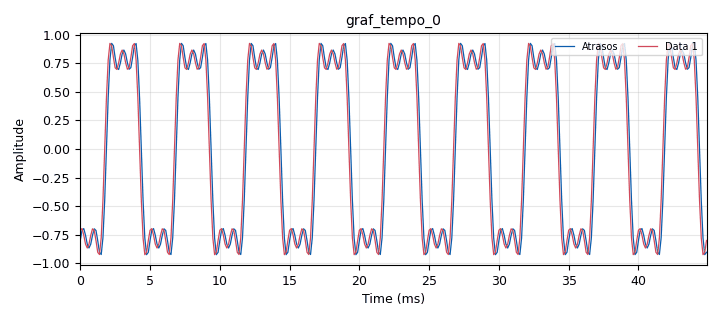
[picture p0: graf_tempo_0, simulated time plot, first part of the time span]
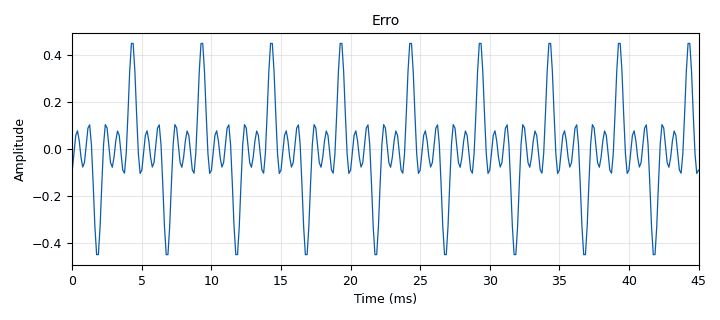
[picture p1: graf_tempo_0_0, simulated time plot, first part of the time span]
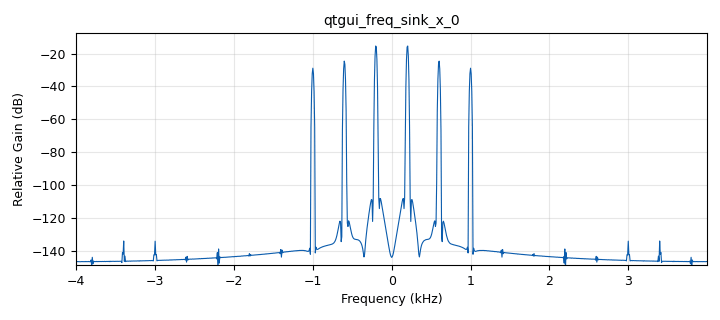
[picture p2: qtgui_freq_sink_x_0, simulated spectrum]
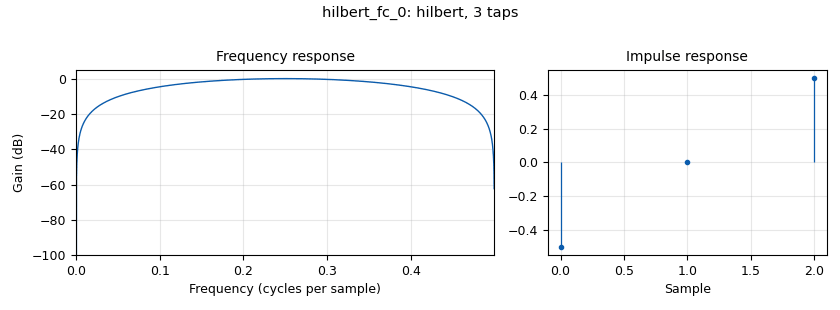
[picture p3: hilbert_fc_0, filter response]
<?xml version='1.0' encoding='utf-8'?>
<?grc format='1' created='3.7.13'?>
<flow_graph>
<block>
<key>options</key>
<param><key>id</key><value>Labo1_2</value></param>
<param><key>author</key><value>Leocarlos Bezerra da Silva Lima</value></param>
<param><key>category</key><value>Custom</value></param>
<param><key>description</key><value>Experimento para Laboratório de Princípios de Comunicações. Departamento de Engenharia Elétrica - DEE da Universidade Federal de Campina Grande - UFCG.</value></param>
<param><key>generate_options</key><value>qt_gui</value></param>
<param><key>title</key><value>Geracao de sinal a partir de sua serie de Fourier</value></param>
</block>
<block>
<key>variable</key>
<param><key>id</key><value>samp_rate</value></param>
<param><key>value</key><value>8000</value></param>
</block>
<block>
<key>blocks_complex_to_real</key>
<param><key>id</key><value>blocks_complex_to_real_0</value></param>
</block>
<block>
<key>blocks_complex_to_real</key>
<param><key>id</key><value>blocks_complex_to_real_0_0</value></param>
</block>
<block>
<key>blocks_complex_to_real</key>
<param><key>id</key><value>blocks_complex_to_real_0_1</value></param>
</block>
<block>
<key>blocks_sub_xx</key>
<param><key>id</key><value>blocks_sub_xx_0</value></param>
<param><key>type</key><value>float</value></param>
</block>
<block>
<key>blocks_throttle</key>
<param><key>id</key><value>blocks_throttle_0</value></param>
<param><key>samples_per_second</key><value>samp_rate</value></param>
<param><key>type</key><value>float</value></param>
</block>
<block>
<key>analog_sig_source_x</key>
<param><key>id</key><value>fundamental</value></param>
<param><key>amp</key><value>1.0</value></param>
<param><key>freq</key><value>200</value></param>
<param><key>offset</key><value>0</value></param>
<param><key>type</key><value>float</value></param>
<param><key>samp_rate</key><value>samp_rate</value></param>
<param><key>waveform</key><value>analog.GR_COS_WAVE</value></param>
</block>
<block>
<key>qtgui_time_sink_x</key>
<param><key>id</key><value>graf_tempo_0</value></param>
<param><key>autoscale</key><value>True</value></param>
<param><key>grid</key><value>True</value></param>
<param><key>color1</key><value>"blue"</value></param>
<param><key>label1</key><value>Atrasos</value></param>
<param><key>color2</key><value>"red"</value></param>
<param><key>label2</key><value></value></param>
<param><key>nconnections</key><value>2</value></param>
<param><key>size</key><value>1024</value></param>
<param><key>srate</key><value>samp_rate</value></param>
<param><key>type</key><value>float</value></param>
</block>
<block>
<key>qtgui_time_sink_x</key>
<param><key>id</key><value>graf_tempo_0_0</value></param>
<param><key>autoscale</key><value>True</value></param>
<param><key>grid</key><value>True</value></param>
<param><key>color1</key><value>"blue"</value></param>
<param><key>label1</key><value></value></param>
<param><key>name</key><value>"Erro"</value></param>
<param><key>size</key><value>1024</value></param>
<param><key>srate</key><value>samp_rate</value></param>
<param><key>type</key><value>float</value></param>
</block>
<block>
<key>analog_sig_source_x</key>
<param><key>id</key><value>harmonica_1</value></param>
<param><key>amp</key><value>-0.333</value></param>
<param><key>freq</key><value>600</value></param>
<param><key>offset</key><value>0</value></param>
<param><key>type</key><value>float</value></param>
<param><key>samp_rate</key><value>samp_rate</value></param>
<param><key>waveform</key><value>analog.GR_COS_WAVE</value></param>
</block>
<block>
<key>analog_sig_source_x</key>
<param><key>id</key><value>harmonica_2</value></param>
<param><key>amp</key><value>0.2</value></param>
<param><key>freq</key><value>1000</value></param>
<param><key>offset</key><value>0</value></param>
<param><key>type</key><value>float</value></param>
<param><key>samp_rate</key><value>samp_rate</value></param>
<param><key>waveform</key><value>analog.GR_COS_WAVE</value></param>
</block>
<block>
<key>hilbert_fc</key>
<param><key>id</key><value>hilbert_fc_0</value></param>
<param><key>num_taps</key><value>2</value></param>
<param><key>win</key><value>firdes.WIN_HAMMING</value></param>
</block>
<block>
<key>hilbert_fc</key>
<param><key>id</key><value>hilbert_fc_0_0</value></param>
<param><key>num_taps</key><value>2</value></param>
<param><key>win</key><value>firdes.WIN_HAMMING</value></param>
</block>
<block>
<key>hilbert_fc</key>
<param><key>id</key><value>hilbert_fc_0_1</value></param>
<param><key>num_taps</key><value>2</value></param>
<param><key>win</key><value>firdes.WIN_HAMMING</value></param>
</block>
<block>
<key>qtgui_freq_sink_x</key>
<param><key>id</key><value>qtgui_freq_sink_x_0</value></param>
<param><key>autoscale</key><value>True</value></param>
<param><key>bw</key><value>samp_rate</value></param>
<param><key>fc</key><value>0</value></param>
<param><key>fftsize</key><value>1024</value></param>
<param><key>grid</key><value>True</value></param>
<param><key>showports</key><value>True</value></param>
<param><key>type</key><value>float</value></param>
<param><key>wintype</key><value>firdes.WIN_BLACKMAN_hARRIS</value></param>
</block>
<block>
<key>blocks_add_xx</key>
<param><key>id</key><value>somador_0</value></param>
<param><key>type</key><value>float</value></param>
<param><key>num_inputs</key><value>3</value></param>
</block>
<block>
<key>blocks_add_xx</key>
<param><key>id</key><value>somador_0_0</value></param>
<param><key>type</key><value>float</value></param>
<param><key>num_inputs</key><value>3</value></param>
</block>
<connection><source_block_id>blocks_complex_to_real_0</source_block_id><sink_block_id>somador_0</sink_block_id><source_key>0</source_key><sink_key>0</sink_key></connection>
<connection><source_block_id>blocks_complex_to_real_0_0</source_block_id><sink_block_id>somador_0</sink_block_id><source_key>0</source_key><sink_key>1</sink_key></connection>
<connection><source_block_id>blocks_complex_to_real_0_1</source_block_id><sink_block_id>somador_0</sink_block_id><source_key>0</source_key><sink_key>2</sink_key></connection>
<connection><source_block_id>blocks_sub_xx_0</source_block_id><sink_block_id>graf_tempo_0_0</sink_block_id><source_key>0</source_key><sink_key>0</sink_key></connection>
<connection><source_block_id>blocks_throttle_0</source_block_id><sink_block_id>hilbert_fc_0</sink_block_id><source_key>0</source_key><sink_key>0</sink_key></connection>
<connection><source_block_id>blocks_throttle_0</source_block_id><sink_block_id>somador_0_0</sink_block_id><source_key>0</source_key><sink_key>0</sink_key></connection>
<connection><source_block_id>fundamental</source_block_id><sink_block_id>blocks_throttle_0</sink_block_id><source_key>0</source_key><sink_key>0</sink_key></connection>
<connection><source_block_id>harmonica_1</source_block_id><sink_block_id>hilbert_fc_0_0</sink_block_id><source_key>0</source_key><sink_key>0</sink_key></connection>
<connection><source_block_id>harmonica_1</source_block_id><sink_block_id>somador_0_0</sink_block_id><source_key>0</source_key><sink_key>1</sink_key></connection>
<connection><source_block_id>harmonica_2</source_block_id><sink_block_id>hilbert_fc_0_1</sink_block_id><source_key>0</source_key><sink_key>0</sink_key></connection>
<connection><source_block_id>harmonica_2</source_block_id><sink_block_id>somador_0_0</sink_block_id><source_key>0</source_key><sink_key>2</sink_key></connection>
<connection><source_block_id>hilbert_fc_0</source_block_id><sink_block_id>blocks_complex_to_real_0</sink_block_id><source_key>0</source_key><sink_key>0</sink_key></connection>
<connection><source_block_id>hilbert_fc_0_0</source_block_id><sink_block_id>blocks_complex_to_real_0_0</sink_block_id><source_key>0</source_key><sink_key>0</sink_key></connection>
<connection><source_block_id>hilbert_fc_0_1</source_block_id><sink_block_id>blocks_complex_to_real_0_1</sink_block_id><source_key>0</source_key><sink_key>0</sink_key></connection>
<connection><source_block_id>somador_0</source_block_id><sink_block_id>blocks_sub_xx_0</sink_block_id><source_key>0</source_key><sink_key>0</sink_key></connection>
<connection><source_block_id>somador_0</source_block_id><sink_block_id>graf_tempo_0</sink_block_id><source_key>0</source_key><sink_key>0</sink_key></connection>
<connection><source_block_id>somador_0</source_block_id><sink_block_id>qtgui_freq_sink_x_0</sink_block_id><source_key>0</source_key><sink_key>0</sink_key></connection>
<connection><source_block_id>somador_0_0</source_block_id><sink_block_id>blocks_sub_xx_0</sink_block_id><source_key>0</source_key><sink_key>1</sink_key></connection>
<connection><source_block_id>somador_0_0</source_block_id><sink_block_id>graf_tempo_0</sink_block_id><source_key>0</source_key><sink_key>1</sink_key></connection>
</flow_graph>
